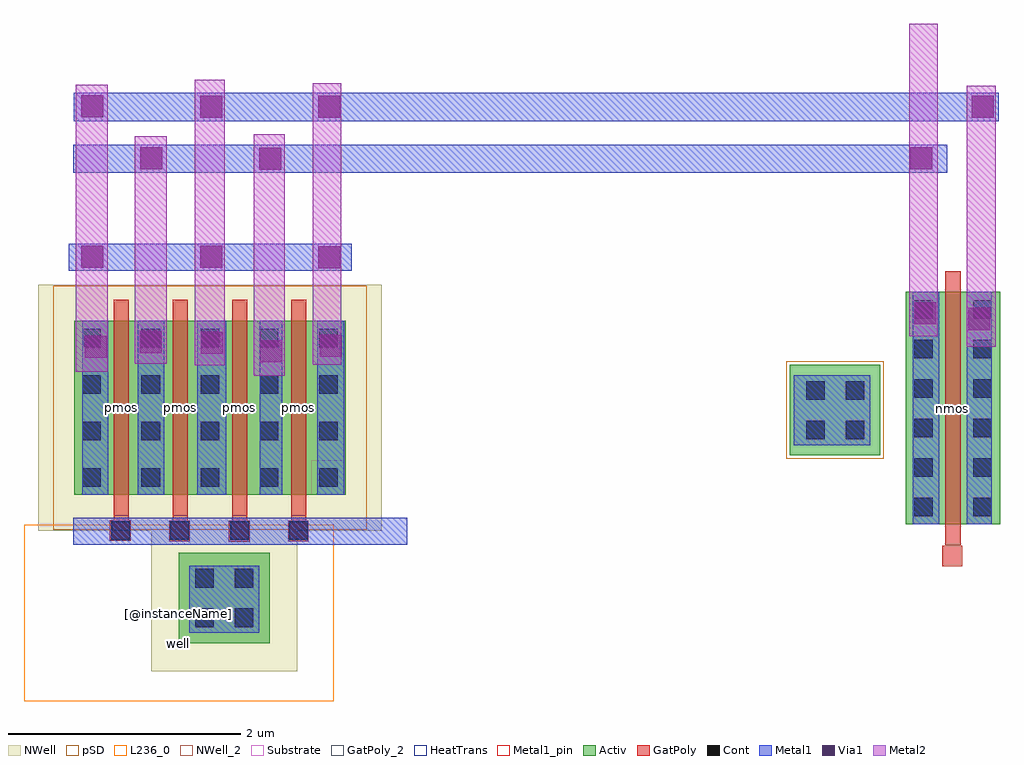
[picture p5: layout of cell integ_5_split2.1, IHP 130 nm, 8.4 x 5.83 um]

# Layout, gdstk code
import gdstk
lib = gdstk.Library(unit=1e-6, precision=1e-09)
def R(c, l, rs):  # rectangles x0, y0, x1, y1
    for r in rs: c.add(gdstk.rectangle(r[:2], r[2:], *l))
def A(c, l, x, y, w, h, nx, ny, dx, dy):  # array of equal rectangles
    R(c, l, [(x+i*dx, y+j*dy, x+i*dx+w, y+j*dy+h) for i in range(nx) for j in range(ny)])
def P(c, l, *ps):  # polygons
    for p in ps: c.add(gdstk.Polygon(p, *l))
Activ = (1, 0)
GatPoly = (5, 0)
GatPoly_2 = (5, 2)
Cont = (6, 0)
Metal1 = (8, 0)
Metal1_pin = (8, 2)
Metal2 = (10, 0)
pSD = (14, 0)
Via1 = (19, 0)
NWell = (31, 0)
NWell_2 = (31, 2)
Substrate = (40, 0)
HeatTrans = (51, 0)
L236_0 = (236, 0)

integ_5_split2_1 = lib.new_cell('integ_5_split2.1')
A(integ_5_split2_1, Activ, -4.517, -0.459, 0.3, 0.3, 5, 1, 0.51, 0)
R(integ_5_split2_1, Activ, [(-3.614,-1.736,-2.834,-0.956), (2.645,-0.711,3.455,1.289), (2.645,-0.711,2.945,-0.411), (3.155,-0.711,3.455,-0.411), (-4.517,-0.459,-2.177,1.041), (1.646,-0.119,2.426,0.661)])
R(integ_5_split2_1, GatPoly, [(-4.177,-0.639,-4.047,1.221)])
P(integ_5_split2_1, GatPoly, [(2.956,-1.073),(2.956,-0.898),(2.985,-0.898),(2.985,1.469),(3.115,1.469),(3.115,-0.898),(3.131,-0.898),(3.131,-1.073)],
  [(-2.674,-0.858),(-2.674,-0.683),(-2.647,-0.683),(-2.647,1.221),(-2.517,1.221),(-2.517,-0.683),(-2.499,-0.683),(-2.499,-0.858)],
  [(-3.184,-0.863),(-3.184,-0.683),(-3.157,-0.683),(-3.157,1.221),(-3.027,1.221),(-3.027,-0.683),(-3.004,-0.683),(-3.004,-0.863)],
  [(-3.699,-0.858),(-3.699,-0.683),(-3.667,-0.683),(-3.667,1.221),(-3.537,1.221),(-3.537,-0.683),(-3.519,-0.683),(-3.519,-0.858)],
  [(-4.209,-0.853),(-4.209,-0.678),(-4.177,-0.678),(-4.177,1.221),(-4.047,1.221),(-4.047,-0.678),(-4.029,-0.678),(-4.029,-0.853)])
R(integ_5_split2_1, GatPoly_2, [(2.985,-0.891,3.115,1.469)])
A(integ_5_split2_1, Cont, 2.715, -0.641, 0.16, 0.16, 1, 6, 0, 0.34)
A(integ_5_split2_1, Cont, 3.225, -0.641, 0.16, 0.16, 1, 6, 0, 0.34)
A(integ_5_split2_1, Cont, -4.447, -0.389, 0.16, 0.16, 5, 4, 0.51, 0.4)
R(integ_5_split2_1, Cont, [(-3.474,-1.596,-3.314,-1.436), (-3.134,-1.596,-2.974,-1.436), (-3.474,-1.256,-3.314,-1.096), (-3.134,-1.256,-2.974,-1.096), (-4.196,-0.846,-4.036,-0.686), (-3.689,-0.846,-3.529,-0.686), (-3.173,-0.846,-3.013,-0.686), (-2.666,-0.846,-2.506,-0.686), (1.786,0.021,1.946,0.181), (2.126,0.021,2.286,0.181), (1.786,0.361,1.946,0.521), (2.126,0.361,2.286,0.521)])
R(integ_5_split2_1, Metal1, [(-3.524,-1.646,-2.924,-1.07), (-4.525,-0.888,-1.648,-0.657), (2.704,-0.711,2.932,1.289), (3.167,-0.711,3.385,1.289), (-4.447,-0.459,-4.221,1.041), (-3.969,-0.459,-3.741,1.041), (-3.455,-0.459,-3.207,1.041), (-2.917,-0.459,-2.723,1.041), (-2.423,-0.459,-2.192,1.041), (1.68,-0.029,2.336,0.571), (-4.561,1.473,-2.127,1.704), (-4.525,2.317,3.001,2.556), (-4.521,2.76,3.444,3.005)])
R(integ_5_split2_1, Metal1_pin, [(-3.524,-1.646,-2.924,-1.07), (2.704,-0.711,2.932,1.289), (3.167,-0.711,3.385,1.289), (1.68,-0.029,2.336,0.571)])
R(integ_5_split2_1, Metal2, [(-2.971,0.569,-2.701,2.648), (-4.502,0.601,-4.227,3.074), (-3.479,0.657,-3.221,3.116), (-2.462,0.661,-2.215,3.084), (-3.994,0.669,-3.718,2.629), (3.17,0.818,3.418,3.066), (2.674,0.906,2.92,3.599)])
R(integ_5_split2_1, pSD, [(-4.697,-0.759,-1.997,1.341), (1.616,-0.149,2.456,0.691)])
R(integ_5_split2_1, Via1, [(-2.915,0.683,-2.725,0.873), (-4.427,0.723,-4.237,0.913), (-2.403,0.73,-2.213,0.92), (-3.426,0.758,-3.236,0.948), (-3.951,0.763,-3.761,0.953), (3.183,0.961,3.373,1.151), (2.718,1.01,2.908,1.2), (-2.414,1.494,-2.224,1.684), (-4.454,1.496,-4.264,1.686), (-3.431,1.498,-3.241,1.688), (-2.923,2.341,-2.733,2.531), (2.682,2.344,2.872,2.534), (-3.946,2.345,-3.756,2.535), (3.212,2.788,3.402,2.978), (-3.431,2.789,-3.241,2.979), (-2.414,2.79,-2.224,2.98), (-4.454,2.792,-4.264,2.982)])
R(integ_5_split2_1, NWell, [(-3.854,-1.976,-2.594,-0.716), (-4.827,-0.769,-1.867,1.351)])
R(integ_5_split2_1, NWell_2, [(-3.614,-1.736,-2.834,-0.956)])
R(integ_5_split2_1, Substrate, [(-2.477,-0.459,-2.177,-0.159)])
A(integ_5_split2_1, HeatTrans, -4.177, -0.639, 0.13, 1.86, 4, 1, 0.51, 0)
R(integ_5_split2_1, HeatTrans, [(2.985,-0.891,3.115,1.469)])
R(integ_5_split2_1, L236_0, [(-4.948,-2.236,-2.28,-0.716)])
integ_5_split2_1.add(gdstk.Label('nmos', (3.05,0.289), layer=51, texttype=0))
integ_5_split2_1.add(gdstk.Label('pmos', (-4.112,0.291), layer=51, texttype=0))
integ_5_split2_1.add(gdstk.Label('pmos', (-3.602,0.291), layer=51, texttype=0))
integ_5_split2_1.add(gdstk.Label('pmos', (-3.092,0.291), layer=51, texttype=0))
integ_5_split2_1.add(gdstk.Label('pmos', (-2.582,0.291), layer=51, texttype=0))
integ_5_split2_1.add(gdstk.Label('pmos', (-4.112,0.291), layer=63, texttype=0))
integ_5_split2_1.add(gdstk.Label('well', (-3.614,-1.736), layer=63, texttype=0))
integ_5_split2_1.add(gdstk.Label('[@instanceName]', (-3.614,-1.476), layer=236, texttype=1))

lib.write_gds('integ_5_split2.1.gds')
